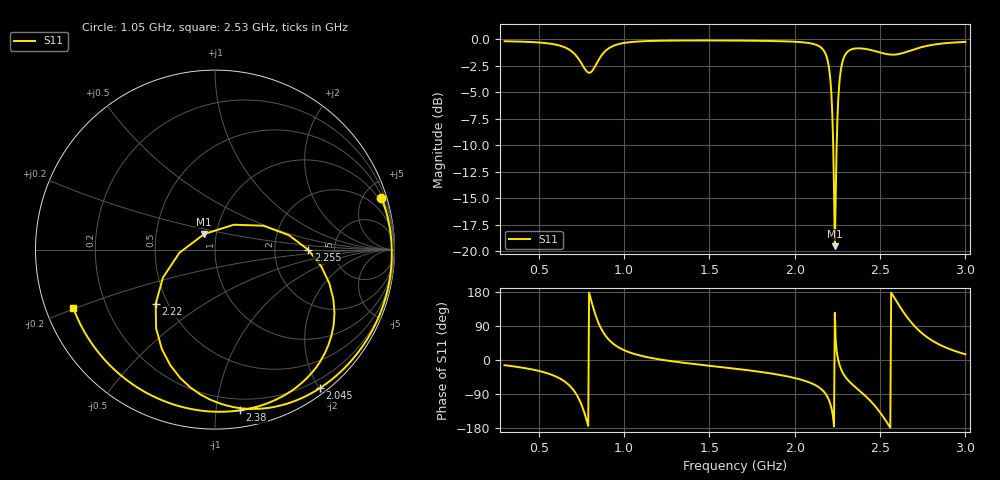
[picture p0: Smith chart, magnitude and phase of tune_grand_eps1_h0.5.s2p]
! grand-style spiral alone, coupling slab eps 1, 0.5 mm over the board
! simulated by sim/fixtures_fdtd.py (S12 = S21, S22 not computed)
# HZ S RI R 50
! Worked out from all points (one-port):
!   541 points, 300 MHz to 3 GHz, reference 50 ohm
!   lowest |S11| = -19.5 dB at 2.235 GHz (marker M1), VSWR 1.24, Z = 43.7 + j7.68 ohm
!   |S11| at or under -10 dB: 2.225 GHz to 2.246 GHz (20.35 MHz wide, 0.91 % of centre)
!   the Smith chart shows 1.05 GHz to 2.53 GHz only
!   S11 on the Smith chart (normalised r, x): 1.05 GHz: 0.62, +6.49; 2.045 GHz: 0.08, -2.01; 2.22 GHz: 0.43, -0.33; 2.255 GHz: 3.17, -0.02; 2.38 GHz: 0.12, -1.16; 2.53 GHz: 0.08, -0.20
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3e8  0.9511 -0.2323  0 0  0 0  0 0
6.1e8  0.6577 -0.6709  0 0  0 0  0 0
7.5e8  -0.3559 -0.6831  0 0  0 0  0 0
8e8  -0.6835 0.1292  0 0  0 0  0 0
8.55e8  -0.0383 0.8087  0 0  0 0  0 0
9.3e8  0.651 0.6578  0 0  0 0  0 0
1.05e9  0.9275 0.2902  0 0  0 0  0 0
1.2e9  0.9833 0.0367  0 0  0 0  0 0
1.65e9  0.9087 -0.3832  0 0  0 0  0 0
2.045e9  0.5835 -0.7723  0 0  0 0  0 0
2.1e9  0.4512 -0.8408  0 0  0 0  0 0
2.185e9  -0.0292 -0.8348  0 0  0 0  0 0
2.22e9  -0.3306 -0.3028  0 0  0 0  0 0
2.235e9  -0.0599 0.0869  0 0  0 0  0 0
2.255e9  0.5203 -0.00181  0 0  0 0  0 0
2.305e9  0.5626 -0.6579  0 0  0 0  0 0
2.38e9  0.1394 -0.8956  0 0  0 0  0 0
2.53e9  -0.7898 -0.3252  0 0  0 0  0 0
2.55e9  -0.8392 -0.1253  0 0  0 0  0 0
2.695e9  -0.0449 0.893  0 0  0 0  0 0
2.825e9  0.6563 0.6818  0 0  0 0  0 0
3e9  0.9381 0.2532  0 0  0 0  0 0
